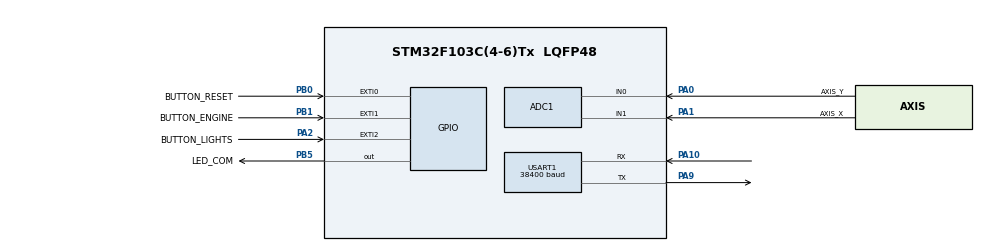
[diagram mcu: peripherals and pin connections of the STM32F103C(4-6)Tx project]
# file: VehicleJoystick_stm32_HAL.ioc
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ADC1.Channel-0\#ChannelRegularConversion=ADC_CHANNEL_0
ADC1.Channel-1\#ChannelRegularConversion=ADC_CHANNEL_1
ADC1.ContinuousConvMode=ENABLE
ADC1.NbrOfConversion=2
ADC1.NbrOfConversionFlag=1
ADC1.Rank-0\#ChannelRegularConversion=1
ADC1.Rank-1\#ChannelRegularConversion=2
ADC1.SamplingTime-0\#ChannelRegularConversion=ADC_SAMPLETIME_239CYCLES_5
ADC1.SamplingTime-1\#ChannelRegularConversion=ADC_SAMPLETIME_239CYCLES_5
ADC1.master=1
Dma.ADC1.1.Direction=DMA_PERIPH_TO_MEMORY
Dma.ADC1.1.Instance=DMA1_Channel1
Dma.ADC1.1.MemDataAlignment=DMA_MDATAALIGN_HALFWORD
Dma.ADC1.1.MemInc=DMA_MINC_ENABLE
Dma.ADC1.1.Mode=DMA_CIRCULAR
Dma.ADC1.1.PeriphDataAlignment=DMA_PDATAALIGN_HALFWORD
Dma.ADC1.1.PeriphInc=DMA_PINC_DISABLE
Dma.ADC1.1.Priority=DMA_PRIORITY_LOW
Dma.Request0=USART1_RX
Dma.Request1=ADC1
Dma.USART1_RX.0.Direction=DMA_PERIPH_TO_MEMORY
Dma.USART1_RX.0.Instance=DMA1_Channel5
Dma.USART1_RX.0.MemDataAlignment=DMA_MDATAALIGN_BYTE
Dma.USART1_RX.0.MemInc=DMA_MINC_ENABLE
Dma.USART1_RX.0.Mode=DMA_NORMAL
Dma.USART1_RX.0.PeriphDataAlignment=DMA_PDATAALIGN_BYTE
Dma.USART1_RX.0.PeriphInc=DMA_PINC_DISABLE
Dma.USART1_RX.0.Priority=DMA_PRIORITY_LOW
Mcu.Family=STM32F1
Mcu.Name=STM32F103C(4-6)Tx
Mcu.Package=LQFP48
NVIC.DMA1_Channel1_IRQn=true\:0\:0\:false\:true\:true\:3\:false\:true
NVIC.DMA1_Channel5_IRQn=true\:0\:0\:false\:true\:true\:2\:false\:true
NVIC.EXTI0_IRQn=true\:0\:0\:false\:true\:true\:6\:true\:true
NVIC.EXTI1_IRQn=true\:0\:0\:false\:true\:true\:5\:true\:true
NVIC.EXTI2_IRQn=true\:0\:0\:false\:true\:true\:4\:true\:true
NVIC.PriorityGroup=NVIC_PRIORITYGROUP_4
NVIC.USART1_IRQn=true\:0\:0\:false\:true\:true\:1\:true\:true
PA0-WKUP.GPIO_Label=AXIS_Y
PA0-WKUP.Signal=ADCx_IN0
PA1.GPIO_Label=AXIS_X
PA1.Signal=ADCx_IN1
PA10.Mode=Asynchronous
PA10.Signal=USART1_RX
PA13.Mode=Serial_Wire
PA13.Signal=SYS_JTMS-SWDIO
PA14.Mode=Serial_Wire
PA14.Signal=SYS_JTCK-SWCLK
PA2.GPIO_Label=BUTTON_LIGHTS
PA2.Signal=GPXTI2
PA9.Mode=Asynchronous
PA9.Signal=USART1_TX
PB0.GPIO_Label=BUTTON_RESET
PB0.GPIO_ModeDefaultEXTI=GPIO_MODE_IT_RISING
PB0.Signal=GPXTI0
PB1.GPIO_Label=BUTTON_ENGINE
PB1.GPIO_ModeDefaultEXTI=GPIO_MODE_IT_RISING_FALLING
PB1.Signal=GPXTI1
PB5.GPIO_Label=LED_COM
PB5.Signal=GPIO_Output
ProjectManager.HeapSize=0x200
ProjectManager.StackSize=0x400
ProjectManager.TargetToolchain=STM32CubeIDE
RCC.APB1Freq_Value=8000000
RCC.APB2Freq_Value=8000000
SH.ADCx_IN0.0=ADC1_IN0,IN0
SH.ADCx_IN1.0=ADC1_IN1,IN1
USART1.BaudRate=38400
USART1.VirtualMode=VM_ASYNC
board=custom

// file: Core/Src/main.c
/* USER CODE BEGIN Header */
/**
  ******************************************************************************
  * @file           : main.c
  * @brief          : Main program body
  ******************************************************************************
  * @attention
  *
  * <h2><center>&copy; Copyright (c) 2022 STMicroelectronics.
  * All rights reserved.</center></h2>
  *
  * This software component is licensed by ST under BSD 3-Clause license,
  * the "License"; You may not use this file except in compliance with the
  * License. You may obtain a copy of the License at:
  *                        opensource.org/licenses/BSD-3-Clause
  *
  ******************************************************************************
  */
/* USER CODE END Header */
#include "main.h"
#include "adc.h"
#include "dma.h"
#include "usart.h"
#include "gpio.h"

/* USER CODE BEGIN Includes */
#include "HC-05_V3.h"
#include "stdlib.h"
#include "stdio.h"
#include "string.h"
#include "movement_control.h"
/* USER CODE END Includes */

/* USER CODE BEGIN PV */
HC05_t HC05_1;							// HC05 bluetooth module structure
uint8_t MsgBuffer[64];				// Buffer for message for bluetooth transfer
uint16_t ADCValue[10][2];				// Buffer for samples from joystick ADC
uint16_t ADCValueAvgX, ADCValueAvgY;	// Average value from 10 samples
uint16_t tempADCValueX, tempADCValueY;	// 10 samples sum
uint16_t ServoPositionX, MotorSpeedY;// Values for servo position (X) and motor speed (Y) that will be send to vehicle
uint8_t volatile ReadyToSend;// flag for message send, if 1 then send new command
uint8_t volatile LightsOn;	// flag set/reset by buttton to turn on/off lights
uint8_t volatile MotorOn;				// flag set by button to start motor
uint32_t LastMsgTimer = 0;				// save tick on last message recieved
/* USER CODE END PV */

void SystemClock_Config(void);
static void MX_NVIC_Init(void);
/* USER CODE BEGIN PFP */
uint16_t map(uint16_t x, uint16_t in_min, uint16_t in_max, uint16_t out_min,
		uint16_t out_max);
/* USER CODE END PFP */

int main(void)
{

  /* MCU Configuration--------------------------------------------------------*/

  /* Reset of all peripherals, Initializes the Flash interface and the Systick. */
  HAL_Init();

  /* Configure the system clock */
  SystemClock_Config();

  /* Initialize all configured peripherals */
  MX_GPIO_Init();
  MX_DMA_Init();
  MX_ADC1_Init();
  MX_USART1_UART_Init();

  /* Initialize interrupts */
  MX_NVIC_Init();
  /* USER CODE BEGIN 2 */
	HC05_Init(&HC05_1, &huart1);
	HAL_ADC_Start_DMA(&hadc1, (uint32_t*) ADCValue, 2 * 10);
	ReadyToSend = 1;
	LightsOn = 0;
  /* USER CODE END 2 */

  /* Infinite loop */
  /* USER CODE BEGIN WHILE */
  while (1)
  {
		// check if there is a acknowledge message from vehicle
		if (HC05_CheckPendingMessages(&HC05_1, MsgBuffer) == HC05_MESSAGEPENDING)
		{
			// clear flag that message is recieved
			HC05_ClearMsgPendingFlag(&HC05_1);

			// check if message is acknowledge OKAY from vehicle
			if (strcmp((char*) MsgBuffer, "OKAY\n") == 0)
			{
				LastMsgTimer = HAL_GetTick();
				// set flag that will trigger another bluetooth transfer
				ReadyToSend = 1;
				// light up LED to see that communication is working
				HAL_GPIO_WritePin(LED_COM_GPIO_Port, LED_COM_Pin,
						GPIO_PIN_SET);
			}
		}

		// reset temporary buffer
		tempADCValueX = 0;
		tempADCValueY = 0;

		// sum 10 adc samples and put the value into temporary register
		for (uint8_t i = 0; i < 10; i++)
		{
			tempADCValueY += ADCValue[i][0];
			tempADCValueX += ADCValue[i][1];
		}

		// if there was acknowledge or it is first transfer then trigger transfer routine
		if (ReadyToSend == 1)
		{
			// reset flag
			ReadyToSend = 0;
			// calculate average value x and y from ADC
			ADCValueAvgX = tempADCValueX / 10;
			ADCValueAvgY = tempADCValueY / 10;

			// map ADC X value 0-4095 to servo PWM value 2333-3666 (60-120) degrees
			ServoPositionX = map(ADCValueAvgX, 0, 4095, SERVO_LOW_LIMIT,
			SERVO_HIGH_LIMIT);

			// map ADC Y value 0-4095 to servo PWM value 0-40000
			MotorSpeedY = map(ADCValueAvgY, 0, 4095, MOTOR_LOW_LIMIT,
			MOTOR_HIGH_LIMIT);

			// variable to save lenght of message
			uint8_t len = 0;
			// prepare command ACK;<ServoPosition>;<MotorSpeed>;<FrontLEDsON>;<MotorONOff>;
			len = sprintf((char*) MsgBuffer, "ACK;%d;%d;%d;%d;\n",
					ServoPositionX, MotorSpeedY, LightsOn, MotorOn);
			// send command to vehicle
			HAL_UART_Transmit(&huart1, MsgBuffer, len, 1000);
			// wait 80 ms before next transfer
			HAL_Delay(80);
		}

		// if there was no communication for 3s
		if ((HAL_GetTick() - LastMsgTimer) > 3000)
		{
			//reset LED
			HAL_GPIO_WritePin(LED_COM_GPIO_Port, LED_COM_Pin, GPIO_PIN_RESET);

			//flush ring buffer
			RB_Flush(&(HC05_1.RingBuffer));
			//send new message command
			ReadyToSend = 1;
			//feed timer
			LastMsgTimer = HAL_GetTick();
		}
    /* USER CODE END WHILE */

  }
}

void SystemClock_Config(void)
{
  RCC_OscInitTypeDef RCC_OscInitStruct = {0};
  RCC_ClkInitTypeDef RCC_ClkInitStruct = {0};
  RCC_PeriphCLKInitTypeDef PeriphClkInit = {0};

  /** Initializes the RCC Oscillators according to the specified parameters
  * in the RCC_OscInitTypeDef structure.
  */
  RCC_OscInitStruct.OscillatorType = RCC_OSCILLATORTYPE_HSI;
  RCC_OscInitStruct.HSIState = RCC_HSI_ON;
  RCC_OscInitStruct.HSICalibrationValue = RCC_HSICALIBRATION_DEFAULT;
  RCC_OscInitStruct.PLL.PLLState = RCC_PLL_NONE;
  if (HAL_RCC_OscConfig(&RCC_OscInitStruct) != HAL_OK)
  {
    Error_Handler();
  }
  /** Initializes the CPU, AHB and APB buses clocks
  */
  RCC_ClkInitStruct.ClockType = RCC_CLOCKTYPE_HCLK|RCC_CLOCKTYPE_SYSCLK
                              |RCC_CLOCKTYPE_PCLK1|RCC_CLOCKTYPE_PCLK2;
  RCC_ClkInitStruct.SYSCLKSource = RCC_SYSCLKSOURCE_HSI;
  RCC_ClkInitStruct.AHBCLKDivider = RCC_SYSCLK_DIV1;
  RCC_ClkInitStruct.APB1CLKDivider = RCC_HCLK_DIV1;
  RCC_ClkInitStruct.APB2CLKDivider = RCC_HCLK_DIV1;

  if (HAL_RCC_ClockConfig(&RCC_ClkInitStruct, FLASH_LATENCY_0) != HAL_OK)
  {
    Error_Handler();
  }
  PeriphClkInit.PeriphClockSelection = RCC_PERIPHCLK_ADC;
  PeriphClkInit.AdcClockSelection = RCC_ADCPCLK2_DIV2;
  if (HAL_RCCEx_PeriphCLKConfig(&PeriphClkInit) != HAL_OK)
  {
    Error_Handler();
  }
}

/**
  * @brief NVIC Configuration.
  * @retval None
  */
static void MX_NVIC_Init(void)
{
  /* USART1_IRQn interrupt configuration */
  HAL_NVIC_SetPriority(USART1_IRQn, 0, 0);
  HAL_NVIC_EnableIRQ(USART1_IRQn);
  /* DMA1_Channel5_IRQn interrupt configuration */
  HAL_NVIC_SetPriority(DMA1_Channel5_IRQn, 0, 0);
  HAL_NVIC_EnableIRQ(DMA1_Channel5_IRQn);
  /* DMA1_Channel1_IRQn interrupt configuration */
  HAL_NVIC_SetPriority(DMA1_Channel1_IRQn, 0, 0);
  HAL_NVIC_EnableIRQ(DMA1_Channel1_IRQn);
  /* EXTI2_IRQn interrupt configuration */
  HAL_NVIC_SetPriority(EXTI2_IRQn, 0, 0);
  HAL_NVIC_EnableIRQ(EXTI2_IRQn);
  /* EXTI1_IRQn interrupt configuration */
  HAL_NVIC_SetPriority(EXTI1_IRQn, 0, 0);
  HAL_NVIC_EnableIRQ(EXTI1_IRQn);
  /* EXTI0_IRQn interrupt configuration */
  HAL_NVIC_SetPriority(EXTI0_IRQn, 0, 0);
  HAL_NVIC_EnableIRQ(EXTI0_IRQn);
}

/* USER CODE BEGIN 4 */
uint16_t map(uint16_t x, uint16_t in_min, uint16_t in_max, uint16_t out_min,
		uint16_t out_max)
{
	return (x - in_min) * (out_max - out_min) / (in_max - in_min) + out_min;
}

#if (HC05_UART_RX_DMA == 1)
void HAL_UARTEx_RxEventCallback(UART_HandleTypeDef *huart, uint16_t Size)
{
	// Callback from BT module
	HC05_RxCpltCallbackDMA(&HC05_1, huart, Size);

}
#endif

void HAL_GPIO_EXTI_Callback(uint16_t GPIO_Pin)
{
	// if button is clicked then set flag (restart transfer)
	if (GPIO_Pin == GPIO_PIN_0)
	{
		ReadyToSend = 1;
	}

	// if lights button is pressed
	if (GPIO_Pin == GPIO_PIN_2)
	{
		// toggle lights
		LightsOn ^= 0x01;

	}

	// if motor button is pressed
	if (GPIO_Pin == GPIO_PIN_1)
	{
		// when not pressed (its pulled up) turn off motor
		if (HAL_GPIO_ReadPin(BUTTON_ENGINE_GPIO_Port, BUTTON_ENGINE_Pin)
				== GPIO_PIN_SET)
		{
			MotorOn = 0;
		}
		// if pressed (pulled to gnd) turn on motor
		else
		{
			MotorOn = 1;
		}
	}
}
#if (HC05_UART_RX_IT == 1)
void HAL_UART_RxCpltCallback(UART_HandleTypeDef *huart)
{

	// Callback from BT module
	HC05_RxCpltCallbackIT(&HC05_1, huart);
}
#endif
/* USER CODE END 4 */

void Error_Handler(void)
{
  __disable_irq();
  while (1)
  {
  }
}

/************************ (C) COPYRIGHT STMicroelectronics *****END OF FILE****/
